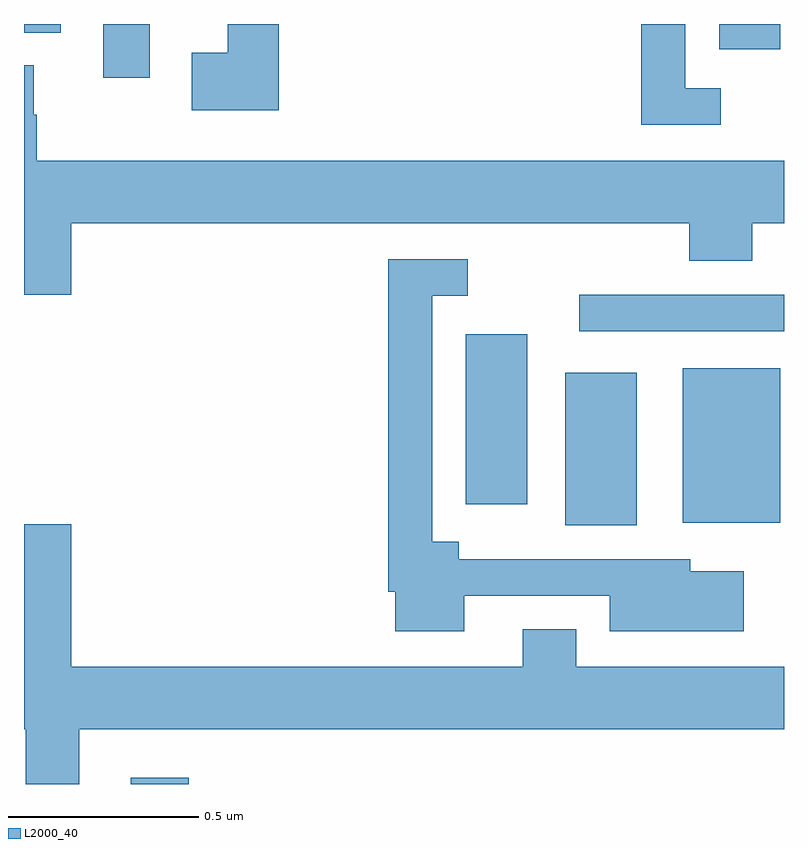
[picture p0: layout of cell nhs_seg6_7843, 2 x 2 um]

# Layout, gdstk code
import gdstk
lib = gdstk.Library(unit=1e-6, precision=1e-09)
def R(c, l, rs):  # rectangles x0, y0, x1, y1
    for r in rs: c.add(gdstk.rectangle(r[:2], r[2:], *l))
def P(c, l, *ps):  # polygons
    for p in ps: c.add(gdstk.Polygon(p, *l))
L2000_40 = (2000, 40)

nhs_seg6_7843 = lib.new_cell('nhs_seg6_7843')
R(nhs_seg6_7843, L2000_40, [(213.281,972.5,213.434,972.517), (214.424,973.181,214.612,973.582), (214.733,973.187,214.99,973.594), (214.163,973.236,214.324,973.684), (214.461,973.692,215,973.788), (213.209,974.358,213.331,974.5), (214.829,974.433,214.99,974.5), (213,974.477,213.097,974.5)])
P(nhs_seg6_7843, L2000_40, [(214.834,974.331),(214.74,974.331),(214.74,974.5),(214.624,974.5),(214.624,974.235),(214.834,974.235)],
  [(213.671,974.5),(213.536,974.5),(213.536,974.425),(213.441,974.425),(213.441,974.273),(213.671,974.273)],
  [(213.124,973.976),(214.751,973.976),(214.751,973.877),(214.916,973.877),(214.916,973.976),(215,973.976),(215,974.14),(213.033,974.14),(213.033,974.261),(213.025,974.261),(213.025,974.392),(213,974.392),(213,973.788),(213.124,973.788)],
  [(214.159,972.996),(214.541,972.996),(214.541,972.902),(214.894,972.902),(214.894,973.06),(214.753,973.06),(214.753,973.092),(214.144,973.092),(214.144,973.138),(214.074,973.138),(214.074,973.785),(214.168,973.785),(214.168,973.881),(213.958,973.881),(213.958,973.006),(213.977,973.006),(213.977,972.902),(214.159,972.902)],
  [(213.145,972.644),(215,972.644),(215,972.808),(214.453,972.808),(214.453,972.907),(214.313,972.907),(214.313,972.808),(213.124,972.808),(213.124,973.183),(213,973.183),(213,972.644),(213.005,972.644),(213.005,972.5),(213.145,972.5)])

lib.write_gds('nhs_seg6_7843.gds')
